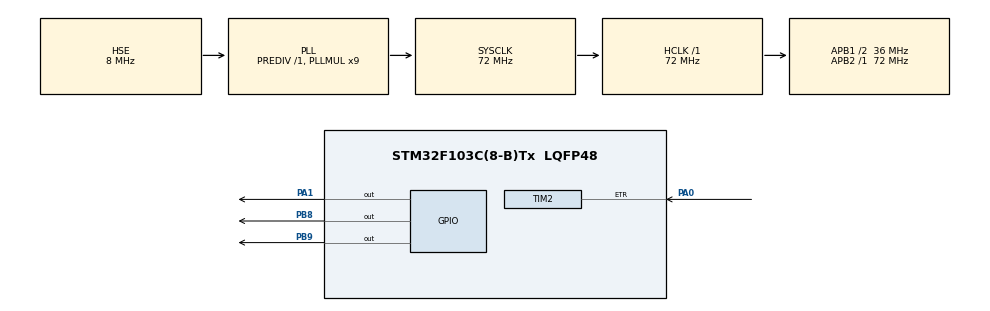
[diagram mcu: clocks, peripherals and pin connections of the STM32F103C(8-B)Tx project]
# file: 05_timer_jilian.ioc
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Mcu.Family=STM32F1
Mcu.Name=STM32F103C(8-B)Tx
Mcu.Package=LQFP48
NVIC.PriorityGroup=NVIC_PRIORITYGROUP_4
NVIC.TIM4_IRQn=true\:0\:0\:false\:false\:true\:true\:true
PA0-WKUP.Signal=S_TIM2_CH1_ETR
PA1.PinState=GPIO_PIN_SET
PA1.Signal=GPIO_Output
PA13.Mode=Serial_Wire
PA13.Signal=SYS_JTMS-SWDIO
PA14.Mode=Serial_Wire
PA14.Signal=SYS_JTCK-SWCLK
PB8.GPIO_ModeDefaultOutputPP=GPIO_MODE_OUTPUT_OD
PB8.GPIO_PuPd=GPIO_NOPULL
PB8.Signal=GPIO_Output
PB9.GPIO_ModeDefaultOutputPP=GPIO_MODE_OUTPUT_OD
PB9.GPIO_PuPd=GPIO_NOPULL
PB9.Signal=GPIO_Output
PC14-OSC32_IN.Mode=LSE-External-Oscillator
PC14-OSC32_IN.Signal=RCC_OSC32_IN
PC15-OSC32_OUT.Mode=LSE-External-Oscillator
PC15-OSC32_OUT.Signal=RCC_OSC32_OUT
PD0-OSC_IN.Mode=HSE-External-Oscillator
PD0-OSC_IN.Signal=RCC_OSC_IN
PD1-OSC_OUT.Mode=HSE-External-Oscillator
PD1-OSC_OUT.Signal=RCC_OSC_OUT
ProjectManager.HeapSize=0x200
ProjectManager.StackSize=0x400
ProjectManager.TargetToolchain=MDK-ARM V5.32
RCC.AHBFreq_Value=72000000
RCC.APB1CLKDivider=RCC_HCLK_DIV2
RCC.APB1Freq_Value=36000000
RCC.APB1TimFreq_Value=72000000
RCC.APB2Freq_Value=72000000
RCC.APB2TimFreq_Value=72000000
RCC.HCLKFreq_Value=72000000
RCC.PLLMUL=RCC_PLL_MUL9
RCC.PLLSourceVirtual=RCC_PLLSOURCE_HSE
RCC.SYSCLKFreq_VALUE=72000000
RCC.SYSCLKSource=RCC_SYSCLKSOURCE_PLLCLK
RCC.USBFreq_Value=72000000
SH.S_TIM2_CH1_ETR.0=TIM2_ETR,ClockSourceETR_Mode2
TIM2.ClockDivision=TIM_CLOCKDIVISION_DIV2
TIM2.ClockFilter=15
TIM2.ClockPrescaler=TIM_CLOCKPRESCALER_DIV1
TIM2.Period=2
TIM2.TIM_MasterOutputTrigger=TIM_TRGO_UPDATE
TIM2.TIM_MasterSlaveMode=TIM_MASTERSLAVEMODE_ENABLE
TIM4.AutoReloadPreload=TIM_AUTORELOAD_PRELOAD_ENABLE
TIM4.Period=1
VP_TIM4_VS_ClockSourceITR.Mode=TriggerSource_ITR1
VP_TIM4_VS_ControllerModeClock.Mode=Clock Mode
board=custom

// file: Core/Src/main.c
/* USER CODE BEGIN Header */
/**
  ******************************************************************************
  * @file           : main.c
  * @brief          : Main program body
  ******************************************************************************
  * @attention
  *
  * Copyright (c) 2025 STMicroelectronics.
  * All rights reserved.
  *
  * This software is licensed under terms that can be found in the LICENSE file
  * in the root directory of this software component.
  * If no LICENSE file comes with this software, it is provided AS-IS.
  *
  ******************************************************************************
  */
/* USER CODE END Header */
#include "main.h"
#include "tim.h"
#include "gpio.h"

/* USER CODE BEGIN Includes */
#include "OLED.h"
/* USER CODE END Includes */

void SystemClock_Config(void);

int main(void)
{
  /* USER CODE BEGIN 1 */
	uint16_t key_count = 0;
	uint16_t cascade_count = 0;
  /* USER CODE END 1 */

  /* MCU Configuration--------------------------------------------------------*/

  /* Reset of all peripherals, Initializes the Flash interface and the Systick. */
  HAL_Init();

  /* Configure the system clock */
  SystemClock_Config();

  /* Initialize all configured peripherals */
  MX_GPIO_Init();
  MX_TIM2_Init();
  MX_TIM4_Init();
  /* USER CODE BEGIN 2 */
	OLED_Init();
	OLED_Clear();

	__HAL_TIM_SET_COUNTER(&htim2, 0);
	__HAL_TIM_SET_COUNTER(&htim4, 0);
	__HAL_TIM_CLEAR_IT(&htim4, TIM_IT_UPDATE);

	HAL_TIM_Base_Start_IT(&htim4); //
	HAL_TIM_Base_Start(&htim2);    //
  /* USER CODE END 2 */

  /* Infinite loop */
  while (1)
  {

    /* USER CODE BEGIN 3 */
		key_count = __HAL_TIM_GET_COUNTER(&htim2);
		cascade_count = __HAL_TIM_GET_COUNTER(&htim4);

		OLED_ShowString(1, 1, "TIM2_CNT:");
    OLED_ShowNum(1, 10, key_count, 2);

    OLED_ShowString(2, 1, "TIM4_CNT:");
    OLED_ShowNum(2, 10, cascade_count, 2);
  }
  /* USER CODE END 3 */
}

void SystemClock_Config(void)
{
  RCC_OscInitTypeDef RCC_OscInitStruct = {0};
  RCC_ClkInitTypeDef RCC_ClkInitStruct = {0};

  /** Initializes the RCC Oscillators according to the specified parameters
  * in the RCC_OscInitTypeDef structure.
  */
  RCC_OscInitStruct.OscillatorType = RCC_OSCILLATORTYPE_HSE;
  RCC_OscInitStruct.HSEState = RCC_HSE_ON;
  RCC_OscInitStruct.HSEPredivValue = RCC_HSE_PREDIV_DIV1;
  RCC_OscInitStruct.HSIState = RCC_HSI_ON;
  RCC_OscInitStruct.PLL.PLLState = RCC_PLL_ON;
  RCC_OscInitStruct.PLL.PLLSource = RCC_PLLSOURCE_HSE;
  RCC_OscInitStruct.PLL.PLLMUL = RCC_PLL_MUL9;
  if (HAL_RCC_OscConfig(&RCC_OscInitStruct) != HAL_OK)
  {
    Error_Handler();
  }
  /** Initializes the CPU, AHB and APB buses clocks
  */
  RCC_ClkInitStruct.ClockType = RCC_CLOCKTYPE_HCLK|RCC_CLOCKTYPE_SYSCLK
                              |RCC_CLOCKTYPE_PCLK1|RCC_CLOCKTYPE_PCLK2;
  RCC_ClkInitStruct.SYSCLKSource = RCC_SYSCLKSOURCE_PLLCLK;
  RCC_ClkInitStruct.AHBCLKDivider = RCC_SYSCLK_DIV1;
  RCC_ClkInitStruct.APB1CLKDivider = RCC_HCLK_DIV2;
  RCC_ClkInitStruct.APB2CLKDivider = RCC_HCLK_DIV1;

  if (HAL_RCC_ClockConfig(&RCC_ClkInitStruct, FLASH_LATENCY_2) != HAL_OK)
  {
    Error_Handler();
  }
}

/* USER CODE BEGIN 4 */
void HAL_TIM_PeriodElapsedCallback(TIM_HandleTypeDef *htim)
{
	if (htim->Instance == TIM4)
	{
		HAL_GPIO_TogglePin(GPIOA,GPIO_PIN_1);
	}
}
/* USER CODE END 4 */

void Error_Handler(void)
{
  __disable_irq();
  while (1)
  {
  }
}
